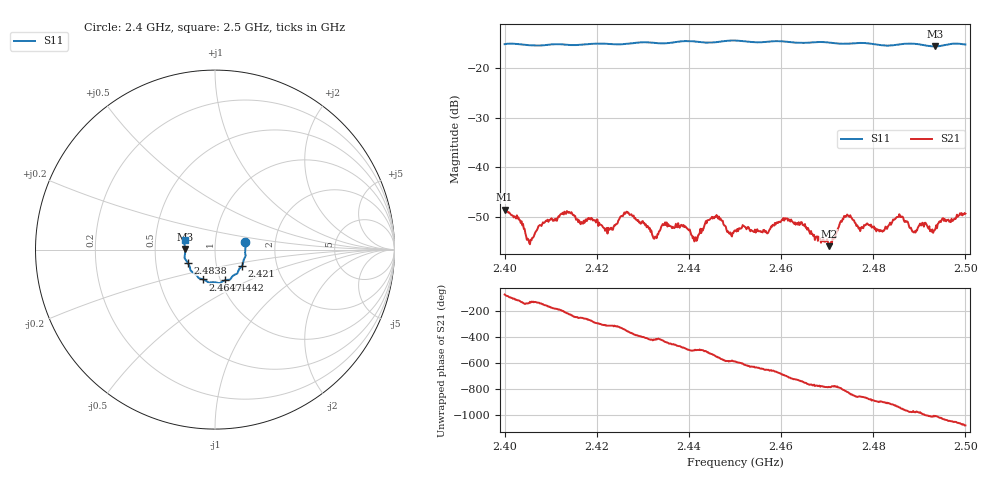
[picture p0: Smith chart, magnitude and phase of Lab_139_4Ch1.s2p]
# Hz S RI R 50
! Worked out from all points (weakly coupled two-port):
!   601 points, 2.4 GHz to 2.5 GHz, reference 50 ohm
!   highest |S21| = -48.60 dB at 2.4 GHz (marker M1); lowest = -55.9 dB at 2.4703 GHz (marker M2)
!   lowest |S11| = -15.6 dB at 2.4935 GHz (marker M3), VSWR 1.40, Z = 35.8 + j0.18 ohm
!   |S11| at or under -10 dB: start of sweep to end of sweep
!   S12 and S22 are empty: the file has one direction only
!   S11 on the Smith chart (normalised r, x): 2.4 GHz: 1.40, +0.12; 2.421 GHz: 1.33, -0.25; 2.4442 GHz: 1.05, -0.37; 2.4647 GHz: 0.83, -0.29; 2.4838 GHz: 0.73, -0.11; 2.5 GHz: 0.71, +0.08
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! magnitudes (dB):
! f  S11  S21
! 2.4 GHz  -15.2  -48.6
! 2.4032 GHz  -15.2  -50.6
! 2.4053 GHz  -15.4  -55.3
! 2.4127 GHz  -15.3  -49.2
! 2.4167 GHz  -15.3  -51.1
! 2.421 GHz  -15.1  -51.7
! 2.4232 GHz  -15.2  -52.2
! 2.4265 GHz  -15.1  -49.0
! 2.4333 GHz  -15.0  -53.6
! 2.4387 GHz  -14.6  -51.9
! 2.4413 GHz  -14.7  -54.8
! 2.4442 GHz  -14.9  -50.7
! 2.45 GHz  -14.5  -52.7
! 2.4647 GHz  -14.9  -51.7
! 2.4667 GHz  -14.8  -53.5
! 2.4703 GHz  -14.9  -55.9
! 2.4742 GHz  -15.1  -49.9
! 2.4773 GHz  -14.9  -52.3
! 2.4833 GHz  -15.5  -51.8
! 2.4838 GHz  -15.5  -51.6
! 2.4935 GHz  -15.6  -52.5
! 2.5 GHz  -15.3  -49.4
